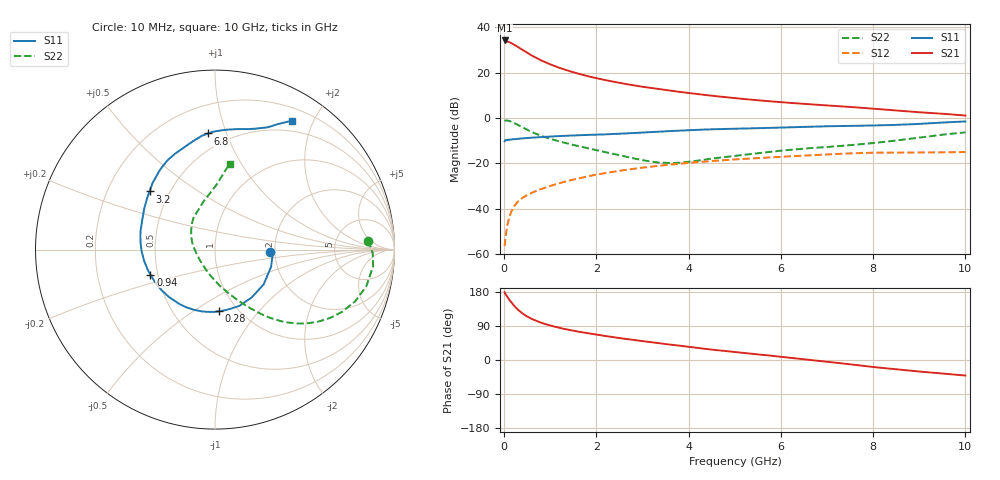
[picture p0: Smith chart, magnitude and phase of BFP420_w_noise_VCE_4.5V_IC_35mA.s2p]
! Infineon Technologies  Discrete & RF Semiconductors
! BFP420
! VCE =  4.5 V,  IC =  35 mA
! Common Emitter S-Parameters:  Jan 2016
# GHz  S  MA  R  50
!  f  S11  S21  S12  S22
! GHz  MAG  ANG  MAG  ANG  MAG  ANG  MAG  ANG
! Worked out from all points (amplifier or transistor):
!   233 points, 10 MHz to 10 GHz, reference 50 ohm
!   highest |S21| = 34.1 dB at 10 MHz (marker M1)
!   |S21| within 3 dB of that: start of sweep to 307.9 MHz
!   unconditionally stable (mu >= 1): start of sweep to 33.24 MHz; 1.474 GHz to end of sweep
!   at 200 MHz: K = 0.45, MSG = 36.0 dB, |S12| = -39.4 dB
!   at 1.74 GHz: K = 1.04, MAG = 21.2 dB, |S12| = -26.1 dB
!   at 10 GHz: K = 1.06, MAG = 6.6 dB, |S12| = -15.0 dB
!   lowest NFmin = 1.64 dB at 900 MHz
!   S11 on the Smith chart (normalised r, x): 10 MHz: 1.88, -0.06; 280 MHz: 0.82, -0.64; 940 MHz: 0.46, -0.15; 3.2 GHz: 0.39, +0.33; 6.8 GHz: 0.39, +0.87; 10 GHz: 0.36, +1.70
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0.01  0.3069 -2.7  50.9 178.7  0.0015 69.0  0.8544 3.4
0.02  0.3225 -5.7  49.43 175.5  0.0019 49.2  0.8792 -1.3
0.055  0.3259 -19.0  48.45 169.2  0.0036 63.9  0.8833 -6.7
0.1  0.3333 -35.6  47.21 161.2  0.0059 66.7  0.8679 -13.5
0.15  0.3359 -52.2  44.85 152.9  0.0084 66.5  0.8328 -20.2
0.2  0.3418 -66.6  42.16 145.4  0.0107 65.4  0.7895 -26.0
0.28  0.3442 -86.6  37.52 135.1  0.0137 63.2  0.7154 -33.5
0.34  0.3504 -99.0  34.33 128.4  0.0156 61.7  0.6624 -38.2
0.4  0.3552 -109.2  31.38 122.6  0.0174 60.6  0.6141 -42.1
0.5  0.3622 -123.4  27.11 114.7  0.02 59.8  0.5444 -47.2
0.54  0.3632 -127.8  25.7 112.3  0.021 59.6  0.5217 -48.7
0.7  0.3745 -143.2  20.87 103.0  0.0248 59.3  0.4429 -54.3
0.94  0.3863 -158.8  16.08 93.1  0.0304 59.4  0.3634 -60.4
1.3  0.4041 -174.8  11.71 82.1  0.039 59.2  0.2855 -68.4
1.68  0.4188 172.9  9.027 73.3  0.0483 57.8  0.2307 -76.7
2.4  0.4438 154.6  6.188 59.7  0.0661 52.9  0.1585 -95.2
3.2  0.4878 138.4  4.551 47.0  0.0849 45.8  0.1088 -128.6
3.4  0.5015 134.8  4.251 43.8  0.0894 43.9  0.1035 -140.1
5.1  0.5814 111.5  2.668 19.8  0.1238 27.8  0.1501 151.3
6.8  0.6485 93.3  1.946 -1.9  0.1538 12.0  0.2218 119.6
8.4  0.6984 74.1  1.486 -23.5  0.1725 -5.9  0.3098 95.9
10  0.8364 59.2  1.128 -41.0  0.1771 -18.4  0.4811 80.3
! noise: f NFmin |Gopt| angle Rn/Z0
0.9  1.64  0.3  -155  0.13
1.8  1.9  0.37  -142  0.15
2.4  2.1  0.34  -134  0.19
3  2.11  0.4  -126  0.22
4  2.25  0.5  -110  0.35
5  2.73  0.54  -94  0.59
6  3.16  0.59  -82  0.84
